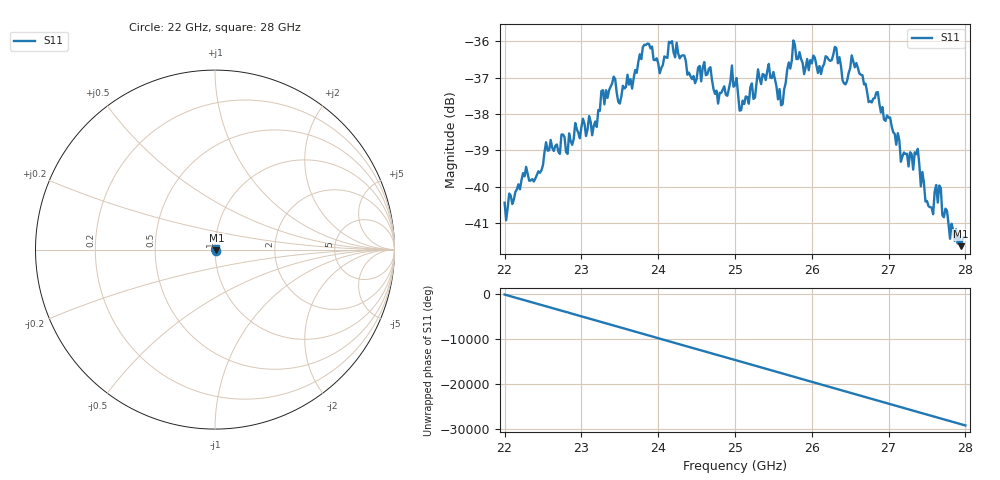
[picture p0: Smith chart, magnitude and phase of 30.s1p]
#  HZ  S  RI  R  50.00
! Rohde & Schwarz ZVA40 4Ports - Version 3.90 - 1145.1110k42 SN: 100403
! Date: 2023-10-04 08:41:05
! Measurement: S12
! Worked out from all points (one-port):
!   301 points, 22 GHz to 28 GHz, reference 50 ohm
!   lowest |S11| = -41.6 dB at 27.94 GHz (marker M1), VSWR 1.02, Z = 50.8 - j0.186 ohm
!   |S11| at or under -10 dB: start of sweep to end of sweep
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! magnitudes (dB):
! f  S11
! 22 GHz  -40.4
! 22.76 GHz  -38.6
! 23.14 GHz  -38.6
! 23.42 GHz  -37.0
! 23.5 GHz  -37.7
! 23.82 GHz  -36.1
! 24.02 GHz  -36.9
! 24.26 GHz  -36.3
! 24.68 GHz  -36.7
! 24.78 GHz  -37.7
! 24.96 GHz  -36.7
! 25 GHz  -37.2
! 25.08 GHz  -37.9
! 25.44 GHz  -36.6
! 25.62 GHz  -37.7
! 25.76 GHz  -36.0
! 25.9 GHz  -36.9
! 26.3 GHz  -36.1
! 26.42 GHz  -37.2
! 26.5 GHz  -36.7
! 26.86 GHz  -37.4
! 27.26 GHz  -39.4
! 27.38 GHz  -39.0
! 27.48 GHz  -40.4
! 27.66 GHz  -40.0
! 27.8 GHz  -41.4
! 27.94 GHz  -41.6
! 28 GHz  -41.4
